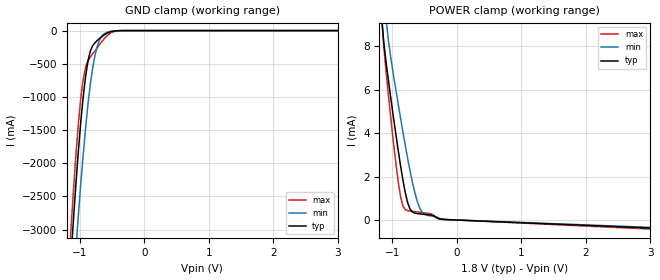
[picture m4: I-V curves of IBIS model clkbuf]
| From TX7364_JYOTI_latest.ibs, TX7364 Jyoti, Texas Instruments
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|   Model clkbuf
[Model] clkbuf
Model_type Input
Polarity   Non-Inverting
Enable   Active-High
C_comp   4.037pF   3.874pF   4.241pF
[Temperature Range]   25.000   0.125k   -40.000
[Voltage Range]   1.800V   1.700V   1.900V
C_comp   4.037pF   3.874pF   4.241pF
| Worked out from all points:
|   GND clamp passes 1 mA (typ) near -0.39 V on its own axis
|   POWER clamp passes 1 mA (typ) near -0.78 V on its own axis
[GND_clamp]
|Voltage   I(typ)   I(min)   I(max)
-1.8V     -15.32A    -15.81A    -15.37A
-1.169V   -3.946A    -4.912A    -3.534A
-1.132V   -3.374A    -4.354A    -2.945A
-1.095V   -2.827A    -3.813A    -2.388A
-1.058V   -2.308A    -3.292A    -1.872A
-1.021V   -1.825A    -2.792A    -1.411A
-984mV    -1.387A    -2.318A    -1.024A
-872mV    -459.6mA   -1.114A    -457.5mA
-761mV    -181.2mA   -364.4mA   -303mA
-612mV    -59.11mA   -42.57mA   -113.1mA
-353mV    -335.5uA   -421.1uA   -675.6uA
3.6V      221.1uA    168.8uA    291.6uA
[POWER_clamp]
|Voltage   I(typ)   I(min)   I(max)
-1.8V     41mA       36.78mA    50.83mA
-1.169V   9.507mA    12.03mA    9.609mA
-1.132V   8.201mA    10.6mA     7.992mA
-1.095V   7.258mA    9.221mA    6.812mA
-909mV    3.234mA    5.361mA    1.794mA
-835mV    1.845mA    4.058mA    650.7uA
-798mV    1.258mA    3.432mA    479.6uA
-724mV    504.9uA    2.256mA    412.2uA
-612mV    298.3uA    851.8uA    370.1uA
-464mV    248.7uA    223uA      315.9uA
-204mV    26.94uA    37.03uA    28.84uA
3.6V      -441.2uA   -403.8uA   -499.3uA
